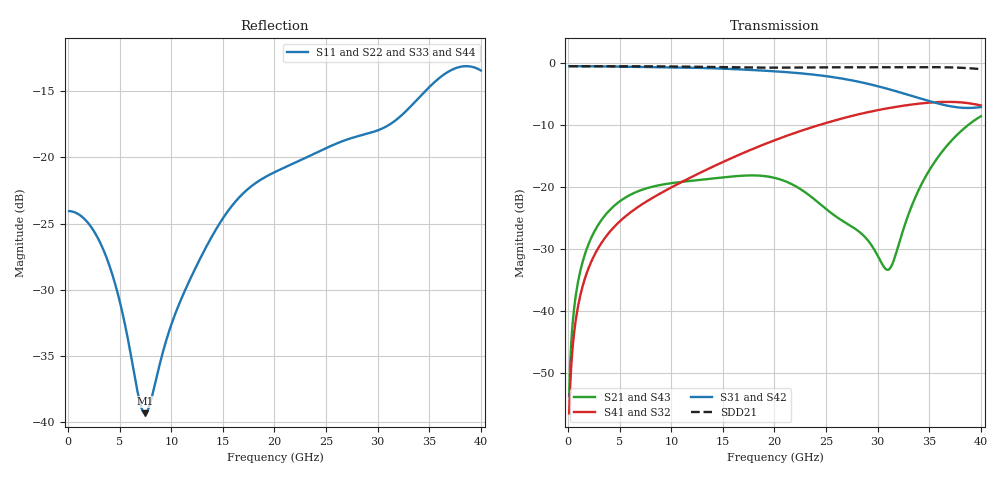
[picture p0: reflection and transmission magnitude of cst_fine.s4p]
! E_s8_L1L8_p1000_oval_g4: pair L1→L8, pitch 1 mm, one oval antipad, 4 GND vias
! stackup: 8-layer 1.6 mm FR-4 (generic)
! ports: 1 P near, 2 N near, 3 P far, 4 N far
! CST Studio Suite 2025.5 Release from 2025-05-30, time domain (FIT, hexahedral, PBA), 432960 mesh cells, 93 s
! mesh: {'lpw': 30.0, 'lpb': 30.0, 'minstep': 0.0, 'ratio': 20}; ports: port 1 (face); port 2 (face); port 3 (face); port 4 (face)
! interpolated from CST's 1001 samples to the case grid
# Hz S RI R 50
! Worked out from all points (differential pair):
!   400 points, 100 MHz to 40 GHz, reference 50 ohm
!   strongest paths, dB at 100 MHz, 10.1 GHz, 20.1 GHz, 30.1 GHz, 40 GHz:
!     S31: -0.6, -0.8, -1.4, -3.8, -7.2
!     S42: -0.6, -0.8, -1.4, -3.8, -7.2
!     S41: -56.5, -20.0, -12.5, -7.6, -6.9
!     S32: -56.5, -20.0, -12.5, -7.6, -6.9
!     S21: -53.7, -19.4, -18.6, -31.4, -8.6
!     S43: -53.7, -19.4, -18.6, -31.4, -8.6
!   taken as a pair (ports 1,2 in; 3,4 out), SDD21 dB: -0.6, -0.6, -0.8, -0.8, -1.0
!   lowest |S11| = -39.3 dB at 7.5 GHz (marker M1), VSWR 1.02, Z = 50.1 - j1.08 ohm
!   |S11| at or under -10 dB: start of sweep to end of sweep
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1e8  -0.0626 0.00262  0.00112 0.00174  0.9365 -0.0354  0.000934 -0.00117
     0.00112 0.00174  -0.0626 0.00262  0.000934 -0.00117  0.9365 -0.0354
     0.9365 -0.0354  0.000934 -0.00117  -0.0626 0.00262  0.00112 0.00174
     0.000934 -0.00117  0.9365 -0.0354  0.00112 0.00174  -0.0626 0.00262
7.5e9  0.000877 -0.0108  0.0239 -0.0936  -0.8766 -0.2892  -0.0154 0.0736
       0.0239 -0.0936  0.000876 -0.0108  -0.0154 0.0736  -0.8766 -0.2892
       -0.8766 -0.2892  -0.0154 0.0736  0.000874 -0.0108  0.0239 -0.0936
       -0.0154 0.0736  -0.8766 -0.2892  0.0239 -0.0936  0.000874 -0.0108
1.22e10  0.0158 0.0337  -0.1119 -0.00869  -0.1019 0.9043  0.1224 0.00489
         -0.1119 -0.00869  0.0158 0.0337  0.1224 0.00489  -0.1019 0.9043
         -0.1019 0.9043  0.1224 0.00489  0.0158 0.0337  -0.1119 -0.00868
         0.1224 0.00489  -0.1019 0.9043  -0.1119 -0.00868  0.0158 0.0337
1.64e10  0.0375 -0.0583  -0.0143 0.1212  0.8818 0.0717  0.00169 -0.1785
         -0.0143 0.1212  0.0375 -0.0583  0.00169 -0.1785  0.8818 0.0717
         0.8818 0.0717  0.00169 -0.1785  0.0376 -0.0583  -0.0143 0.1211
         0.00169 -0.1785  0.8818 0.0717  -0.0143 0.1211  0.0375 -0.0583
2.42e10  -0.0556 0.0888  0.0367 -0.0656  -0.7766 -0.1648  0.00622 0.3119
         0.0367 -0.0656  -0.0556 0.0888  0.00622 0.3119  -0.7766 -0.1648
         -0.7766 -0.1648  0.00622 0.3119  -0.0556 0.0887  0.0367 -0.0656
         0.00622 0.3119  -0.7766 -0.1648  0.0367 -0.0656  -0.0556 0.0887
3.21e10  0.1213 -0.0733  0.0265 0.0237  0.5509 0.1758  -0.1446 -0.4209
         0.0265 0.0237  0.1213 -0.0733  -0.1446 -0.4209  0.5509 0.1758
         0.5509 0.1758  -0.1446 -0.4209  0.1213 -0.0733  0.0265 0.0237
         -0.1446 -0.4209  0.5509 0.1758  0.0265 0.0237  0.1213 -0.0733
4e10  -0.2124 -0.013  -0.3378 0.1521  -0.2998 -0.3204  0.3629 0.2693
      -0.3378 0.1521  -0.2124 -0.013  0.3629 0.2693  -0.2998 -0.3204
      -0.2998 -0.3204  0.3629 0.2693  -0.2124 -0.013  -0.3378 0.1521
      0.3629 0.2693  -0.2998 -0.3204  -0.3378 0.1521  -0.2124 -0.013
